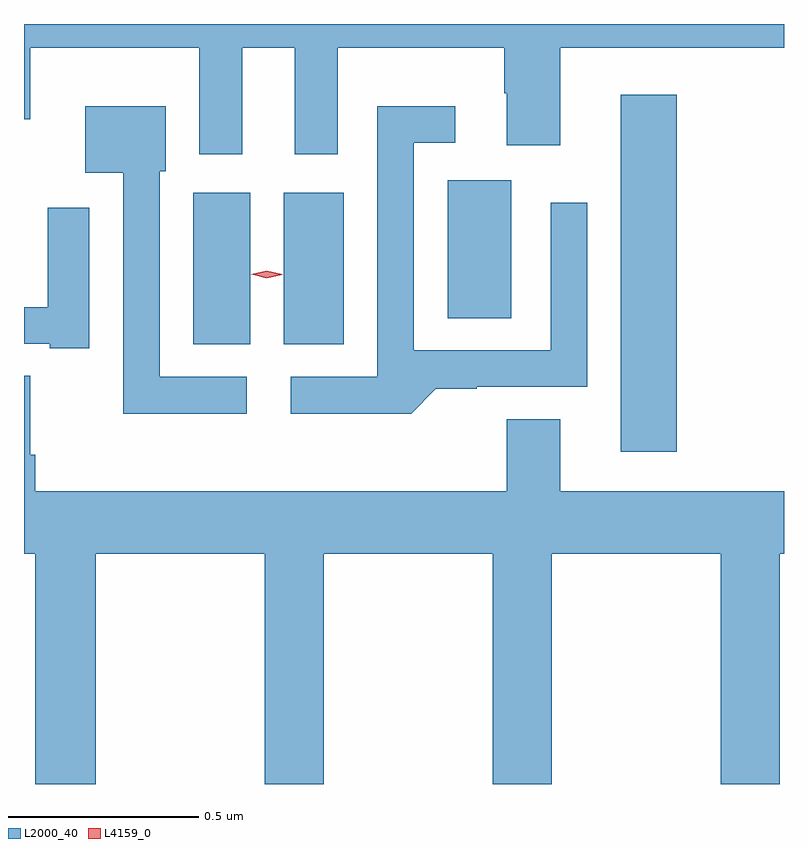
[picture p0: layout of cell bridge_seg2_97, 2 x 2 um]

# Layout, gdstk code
import gdstk
lib = gdstk.Library(unit=1e-6, precision=1e-09)
def R(c, l, rs):  # rectangles x0, y0, x1, y1
    for r in rs: c.add(gdstk.rectangle(r[:2], r[2:], *l))
def P(c, l, *ps):  # polygons
    for p in ps: c.add(gdstk.Polygon(p, *l))
L2000_40 = (2000, 40)
L4159_0 = (4159, 0)

bridge_seg2_97 = lib.new_cell('bridge_seg2_97')
R(bridge_seg2_97, L2000_40, [(234.392,610.608,234.539,611.548), (233.267,610.891,233.416,611.29), (233.504,610.891,233.662,611.29), (233.936,610.96,234.103,611.323)])
P(bridge_seg2_97, L2000_40, [(233.395,611.672),(233.534,611.672),(233.534,611.391),(233.647,611.391),(233.647,611.672),(234.085,611.672),(234.085,611.552),(234.092,611.552),(234.092,611.415),(234.232,611.415),(234.232,611.672),(234.821,611.672),(234.821,611.734),(232.821,611.734),(232.821,611.483),(232.837,611.483),(232.837,611.672),(233.282,611.672),(233.282,611.391),(233.395,611.391)],
  [(233.905,610.774),(234.013,610.774),(234.013,610.779),(234.303,610.779),(234.303,611.263),(234.207,611.263),(234.207,610.875),(233.847,610.875),(233.847,611.421),(233.956,611.421),(233.956,611.518),(233.751,611.518),(233.751,610.806),(233.523,610.806),(233.523,610.709),(233.84,610.709)],
  [(233.407,610.806),(233.178,610.806),(233.178,611.346),(233.194,611.346),(233.194,611.518),(232.982,611.518),(232.982,611.342),(233.082,611.342),(233.082,610.709),(233.407,610.709)],
  [(232.993,611.251),(232.883,611.251),(232.883,610.989),(232.821,610.989),(232.821,610.893),(232.889,610.893),(232.889,610.881),(232.993,610.881)],
  [(233.01,610.34),(233.455,610.34),(233.455,609.734),(233.61,609.734),(233.61,610.34),(234.055,610.34),(234.055,609.734),(234.21,609.734),(234.21,610.34),(234.655,610.34),(234.655,609.734),(234.81,609.734),(234.81,610.34),(234.821,610.34),(234.821,610.504),(234.232,610.504),(234.232,610.694),(234.092,610.694),(234.092,610.504),(232.85,610.504),(232.85,610.6),(232.837,610.6),(232.837,610.808),(232.821,610.808),(232.821,610.34),(232.85,610.34),(232.85,609.734),(233.01,609.734)])
P(bridge_seg2_97, L4159_0, [(233.46,611.065),(233.419,611.075),(233.419,611.075),(233.419,611.075),(233.46,611.085),(233.5,611.075),(233.5,611.074),(233.5,611.074)])

lib.write_gds('bridge_seg2_97.gds')
